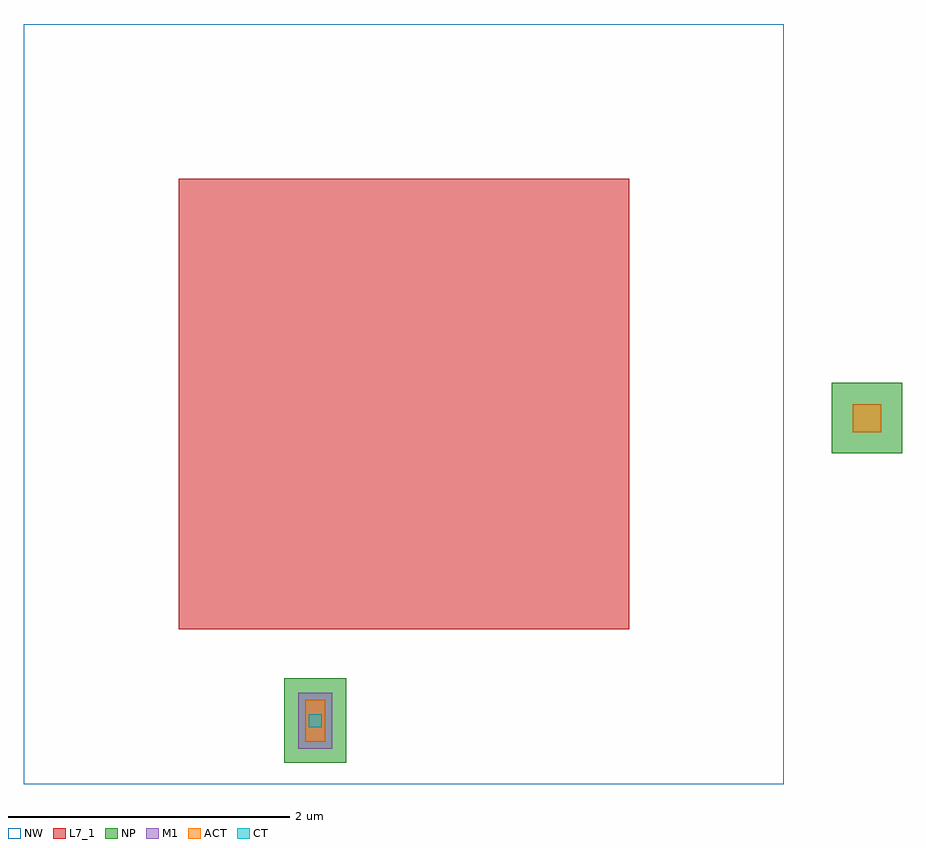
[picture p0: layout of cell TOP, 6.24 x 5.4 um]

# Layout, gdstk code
import gdstk
lib = gdstk.Library(unit=1e-6, precision=1e-09)
def R(c, l, rs):  # rectangles x0, y0, x1, y1
    for r in rs: c.add(gdstk.rectangle(r[:2], r[2:], *l))
ACT = (2, 1)
L7_1 = (7, 1)
NW = (9, 1)
NP = (52, 1)
CT = (72, 1)
M1 = (81, 1)

top = lib.new_cell('TOP')
R(top, ACT, [(2,0.3,2.14,0.6), (5.89,2.5,6.09,2.7)])
R(top, L7_1, [(1.1,1.1,4.3,4.3)])
R(top, NW, [(0,0,5.4,5.4)])
R(top, NP, [(1.85,0.15,2.29,0.75), (5.74,2.35,6.24,2.85)])
R(top, CT, [(2.025,0.405,2.115,0.495)])
R(top, M1, [(1.95,0.25,2.19,0.65)])

lib.write_gds('TOP.gds')
